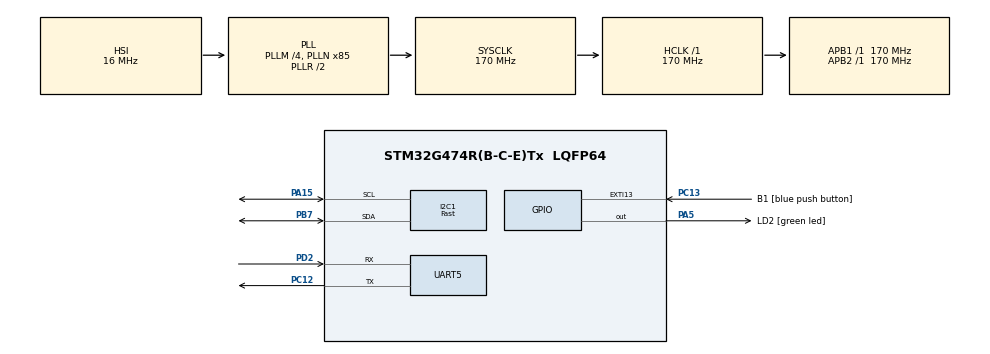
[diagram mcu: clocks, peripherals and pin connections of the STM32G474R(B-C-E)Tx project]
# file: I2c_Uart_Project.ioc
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I2C1.I2C_Speed_Mode=I2C_Fast
I2C1.Timing=0x10802D9B
Mcu.Family=STM32G4
Mcu.Name=STM32G474R(B-C-E)Tx
Mcu.Package=LQFP64
NVIC.EXTI15_10_IRQn=true\:0\:0\:false\:false\:true\:true\:true
NVIC.PriorityGroup=NVIC_PRIORITYGROUP_4
PA13.GPIO_Label=T_SWDIO
PA13.Mode=Serial_Wire
PA13.Signal=SYS_JTMS-SWDIO
PA14.GPIO_Label=T_SWCLK
PA14.Mode=Serial_Wire
PA14.Signal=SYS_JTCK-SWCLK
PA15.Mode=I2C
PA15.Signal=I2C1_SCL
PA2.GPIO_Label=LPUART1_TX [STLINKV3E_VCP_RX]
PA2.Signal=LPUART1_TX
PA3.GPIO_Label=LPUART1_RX [STLINKV3E_VCP_TX]
PA3.Signal=LPUART1_RX
PA5.GPIO_Label=LD2 [green led]
PA5.Signal=GPIO_Output
PB3.GPIO_Label=T_SWO
PB3.Signal=SYS_JTDO-SWO
PB7.Mode=I2C
PB7.Signal=I2C1_SDA
PC12.Mode=Asynchronous
PC12.Signal=UART5_TX
PC13.GPIO_Label=B1 [blue push button]
PC13.Signal=GPXTI13
PC14-OSC32_IN.Mode=LSE-External-Oscillator
PC14-OSC32_IN.Signal=RCC_OSC32_IN
PC15-OSC32_OUT.Mode=LSE-External-Oscillator
PC15-OSC32_OUT.Signal=RCC_OSC32_OUT
PD2.Mode=Asynchronous
PD2.Signal=UART5_RX
PF0-OSC_IN.Mode=HSE-External-Oscillator
PF0-OSC_IN.Signal=RCC_OSC_IN
PF1-OSC_OUT.Mode=HSE-External-Oscillator
PF1-OSC_OUT.Signal=RCC_OSC_OUT
ProjectManager.HeapSize=0x200
ProjectManager.StackSize=0x400
ProjectManager.TargetToolchain=STM32CubeIDE
RCC.ADC12Freq_Value=170000000
RCC.ADC345Freq_Value=170000000
RCC.AHBFreq_Value=170000000
RCC.APB1Freq_Value=170000000
RCC.APB1TimFreq_Value=170000000
RCC.APB2Freq_Value=170000000
RCC.APB2TimFreq_Value=170000000
RCC.CortexFreq_Value=170000000
RCC.EXTERNAL_CLOCK_VALUE=12288000
RCC.HCLKFreq_Value=170000000
RCC.HSE_VALUE=24000000
RCC.HSI48_VALUE=48000000
RCC.HSI_VALUE=16000000
RCC.PLLM=RCC_PLLM_DIV4
RCC.PLLN=85
RCC.RTCClockSelection=RCC_RTCCLKSOURCE_LSE
RCC.SYSCLKFreq_VALUE=170000000
RCC.SYSCLKSource=RCC_SYSCLKSOURCE_PLLCLK
RCC.USBFreq_Value=170000000
RCC.VCOOutputFreq_Value=340000000
VP_SYS_VS_DBSignals.Mode=DisableDeadBatterySignals
board=NUCLEO-G474RE

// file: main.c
/* USER CODE BEGIN Header */
/**
  ******************************************************************************
  * @file           : main.c
  * @brief          : Main program body
  ******************************************************************************
  * @attention
  *
  * <h2><center>&copy; Copyright (c) 2023 STMicroelectronics.
  * All rights reserved.</center></h2>
  *
  * This software component is licensed by ST under BSD 3-Clause license,
  * the "License"; You may not use this file except in compliance with the
  * License. You may obtain a copy of the License at:
  *                        opensource.org/licenses/BSD-3-Clause
  *
  ******************************************************************************
  */
/* USER CODE END Header */

#include "main.h"

/* USER CODE BEGIN Includes */
#include "max30102.h"

/* USER CODE END Includes */

I2C_HandleTypeDef hi2c1;

UART_HandleTypeDef huart5;

void SystemClock_Config(void);
static void MX_GPIO_Init(void);
static void MX_I2C1_Init(void);
static void MX_UART5_Init(void);

int main(void)
{

  /* MCU Configuration--------------------------------------------------------*/

  /* Reset of all peripherals, Initializes the Flash interface and the Systick. */
  HAL_Init();

  /* Configure the system clock */
  SystemClock_Config();

  /* Initialize all configured peripherals */
  MX_GPIO_Init();
  MX_I2C1_Init();
  MX_UART5_Init();
  /* USER CODE BEGIN 2 */
  FIFO_LED_DATA result={0};
  FIFO_LED_DATA secend_result={0};
  FIFO_LED_DATA average_result={0};
  FIFO_LED_DATA arr_sample[15];
  uint32_t ir_led_buf[15];
  uint32_t red_led_buf[15];
  int32_t heartreat;
  int32_t spo2;
  int8_t heartreat_vlid;
  int8_t spo2_valid;
  int i;
  MAX30102 Final_result={0};
  long currentMillis = 0;
  long lastMillis = 0;

  //uint16_t count=0;
  uint8_t arr2[]="the device is ready\n\r";
    uint8_t arr3[]="the device is not ready\n\r";
#if DEBUG_MODE_UART==OPEN
  uint8_t arr[]="software is start\n\r";

  HAL_UART_Transmit(&huart5, arr, sizeof(arr), 500);
#endif
  if(HAL_I2C_IsDeviceReady(&hi2c1, I2C_SLAVE_ID, 2, 10)==HAL_OK)
  {
	//#if DEBUG_MODE_UART==OPEN
	  HAL_UART_Transmit(&huart5, arr2, sizeof(arr2), 500);
	  HAL_Delay(2000);
	//#endif
  }else{
	//#if DEBUG_MODE_UART==OPEN
	  HAL_UART_Transmit(&huart5, arr3, sizeof(arr3), 500);
	//#endif
  }
   Max30102_resetRegisters();
  Max30102_Init();

  /*Max30102_setLedCurrent(RED_LED, 50);
  Max30102_setLedCurrent(IR_LED, 5);
 Max30102_resetFifo();*/

  //result=Max30102_readFifo();
  currentMillis = millis();
  /* USER CODE END 2 */

  /* Infinite loop */
  while (1)
  {

    /* USER CODE BEGIN 3 */
	  //count++;
	  result.irLedRaw=0;
	  result.redLedRaw=0;
	  secend_result.irLedRaw=0;
	  secend_result.redLedRaw=0;
	  for(i=0;i<15;i++)
	  {
		  arr_sample[i]=Max30102_readFifo();
		  result.irLedRaw=result.irLedRaw+arr_sample[i].irLedRaw;
		  result.redLedRaw=result.redLedRaw+arr_sample[i].redLedRaw;

		  Max30102_resetFifo();

	  }

	 /* result=Max30102_readFifo();
	  Max30102_resetFifo();
	  secend_result=Max30102_readFifo();*/

	  average_result.irLedRaw=(result.irLedRaw)/15.0;
	  average_result.redLedRaw=(result.redLedRaw)/15.0;
	  memset(arr_sample,0,sizeof(arr_sample));

	 // average_result.irLedRaw=arr_sample[498].irLedRaw;
	  //average_result.redLedRaw=arr_sample[498].redLedRaw;

	  Final_result=Max30102_HeartRate_Value(average_result);
	 //print_Sensor_value(Final_result.redDcValue);

  	  Max30102_resetFifo();
  	//HAL_Delay(10);

	 currentMillis = millis();
	 	  if( currentMillis - lastMillis > 1000 )
	 	  {
	 		  	  	  if(Final_result.irDcValue>80000){
	 			 	 	HAL_UART_Transmit(&huart5, "MAX30102 Pulse Oximiter Data: =",sizeof("MAX30102 Pulse Oximiter Data: ="),100);
	 		 	  		print_Sensor_value(Final_result.heartBPM);
	 		 	  		HAL_UART_Transmit(&huart5, "Oxygen Saturation SpO2 (%): =",sizeof("Oxygen Saturation SpO2 (%): ="),100);
	 		 	  		uart_PrintFloat(Final_result.SpO2);
	 		 	  		HAL_UART_Transmit(&huart5, "The Value of ir =",sizeof("The Value of ir ="),100);
	 		 	  		print_Sensor_value(Final_result.irDcValue );
	 		 	  		uart_PrintString("\r\n");
	 		  	  	  }else
	 		  	  	  {
	 		  	  		HAL_UART_Transmit(&huart5, "No Finger\n\r",sizeof("No Finger\n\r"),100);
	 		  	  	  }

	 			/*uart_PrintString("MAX30102 Pulse Oximiter Data:\r\n");

	 			uart_PrintString("Heart Rate (BPM): ");
	 			uart_PrintFloat(Final_result.heartBPM);

	 			uart_PrintString("Oxygen Saturation SpO2 (%): ");
	 			uart_PrintFloat(Final_result.SpO2);
	 			uart_PrintString("\r\n");*/

	 		  lastMillis = currentMillis;
	 	  }

		//HAL_UART_Transmit(&huart5, (uint8_t *)&Final_result.heartBPM,1, HAL_MAX_DELAY);

	//
	  //HAL_UART_Transmit(&huart5, (uint8_t *)&result.irLedRaw, 4,100);
	 // HAL_UART_Transmit(&huart5, (uint8_t *)&result.redLedRaw, 4,100);
  }
  /* USER CODE END 3 */
}

void SystemClock_Config(void)
{
  RCC_OscInitTypeDef RCC_OscInitStruct = {0};
  RCC_ClkInitTypeDef RCC_ClkInitStruct = {0};
  RCC_PeriphCLKInitTypeDef PeriphClkInit = {0};

  /** Configure the main internal regulator output voltage
  */
  HAL_PWREx_ControlVoltageScaling(PWR_REGULATOR_VOLTAGE_SCALE1_BOOST);
  /** Initializes the CPU, AHB and APB busses clocks
  */
  RCC_OscInitStruct.OscillatorType = RCC_OSCILLATORTYPE_HSI;
  RCC_OscInitStruct.HSIState = RCC_HSI_ON;
  RCC_OscInitStruct.HSICalibrationValue = RCC_HSICALIBRATION_DEFAULT;
  RCC_OscInitStruct.PLL.PLLState = RCC_PLL_ON;
  RCC_OscInitStruct.PLL.PLLSource = RCC_PLLSOURCE_HSI;
  RCC_OscInitStruct.PLL.PLLM = RCC_PLLM_DIV4;
  RCC_OscInitStruct.PLL.PLLN = 85;
  RCC_OscInitStruct.PLL.PLLP = RCC_PLLP_DIV2;
  RCC_OscInitStruct.PLL.PLLQ = RCC_PLLQ_DIV2;
  RCC_OscInitStruct.PLL.PLLR = RCC_PLLR_DIV2;
  if (HAL_RCC_OscConfig(&RCC_OscInitStruct) != HAL_OK)
  {
    Error_Handler();
  }
  /** Initializes the CPU, AHB and APB busses clocks
  */
  RCC_ClkInitStruct.ClockType = RCC_CLOCKTYPE_HCLK|RCC_CLOCKTYPE_SYSCLK
                              |RCC_CLOCKTYPE_PCLK1|RCC_CLOCKTYPE_PCLK2;
  RCC_ClkInitStruct.SYSCLKSource = RCC_SYSCLKSOURCE_PLLCLK;
  RCC_ClkInitStruct.AHBCLKDivider = RCC_SYSCLK_DIV1;
  RCC_ClkInitStruct.APB1CLKDivider = RCC_HCLK_DIV1;
  RCC_ClkInitStruct.APB2CLKDivider = RCC_HCLK_DIV1;

  if (HAL_RCC_ClockConfig(&RCC_ClkInitStruct, FLASH_LATENCY_8) != HAL_OK)
  {
    Error_Handler();
  }
  /** Initializes the peripherals clocks
  */
  PeriphClkInit.PeriphClockSelection = RCC_PERIPHCLK_UART5|RCC_PERIPHCLK_I2C1;
  PeriphClkInit.Uart5ClockSelection = RCC_UART5CLKSOURCE_PCLK1;
  PeriphClkInit.I2c1ClockSelection = RCC_I2C1CLKSOURCE_PCLK1;
  if (HAL_RCCEx_PeriphCLKConfig(&PeriphClkInit) != HAL_OK)
  {
    Error_Handler();
  }
}

static void MX_I2C1_Init(void)
{

  hi2c1.Instance = I2C1;
  hi2c1.Init.Timing = 0x10802D9B;
  hi2c1.Init.OwnAddress1 = 0;
  hi2c1.Init.AddressingMode = I2C_ADDRESSINGMODE_7BIT;
  hi2c1.Init.DualAddressMode = I2C_DUALADDRESS_DISABLE;
  hi2c1.Init.OwnAddress2 = 0;
  hi2c1.Init.OwnAddress2Masks = I2C_OA2_NOMASK;
  hi2c1.Init.GeneralCallMode = I2C_GENERALCALL_DISABLE;
  hi2c1.Init.NoStretchMode = I2C_NOSTRETCH_DISABLE;
  if (HAL_I2C_Init(&hi2c1) != HAL_OK)
  {
    Error_Handler();
  }
  /** Configure Analogue filter
  */
  if (HAL_I2CEx_ConfigAnalogFilter(&hi2c1, I2C_ANALOGFILTER_ENABLE) != HAL_OK)
  {
    Error_Handler();
  }
  /** Configure Digital filter
  */
  if (HAL_I2CEx_ConfigDigitalFilter(&hi2c1, 0) != HAL_OK)
  {
    Error_Handler();
  }

}

static void MX_UART5_Init(void)
{

  huart5.Instance = UART5;
  huart5.Init.BaudRate = 115200;
  huart5.Init.WordLength = UART_WORDLENGTH_8B;
  huart5.Init.StopBits = UART_STOPBITS_1;
  huart5.Init.Parity = UART_PARITY_NONE;
  huart5.Init.Mode = UART_MODE_TX_RX;
  huart5.Init.HwFlowCtl = UART_HWCONTROL_NONE;
  huart5.Init.OverSampling = UART_OVERSAMPLING_16;
  huart5.Init.OneBitSampling = UART_ONE_BIT_SAMPLE_DISABLE;
  huart5.Init.ClockPrescaler = UART_PRESCALER_DIV1;
  huart5.AdvancedInit.AdvFeatureInit = UART_ADVFEATURE_NO_INIT;
  if (HAL_UART_Init(&huart5) != HAL_OK)
  {
    Error_Handler();
  }
  if (HAL_UARTEx_SetTxFifoThreshold(&huart5, UART_TXFIFO_THRESHOLD_1_8) != HAL_OK)
  {
    Error_Handler();
  }
  if (HAL_UARTEx_SetRxFifoThreshold(&huart5, UART_RXFIFO_THRESHOLD_1_8) != HAL_OK)
  {
    Error_Handler();
  }
  if (HAL_UARTEx_DisableFifoMode(&huart5) != HAL_OK)
  {
    Error_Handler();
  }

}

static void MX_GPIO_Init(void)
{
  GPIO_InitTypeDef GPIO_InitStruct = {0};

  /* GPIO Ports Clock Enable */
  __HAL_RCC_GPIOC_CLK_ENABLE();
  __HAL_RCC_GPIOF_CLK_ENABLE();
  __HAL_RCC_GPIOA_CLK_ENABLE();
  __HAL_RCC_GPIOD_CLK_ENABLE();
  __HAL_RCC_GPIOB_CLK_ENABLE();

  /*Configure GPIO pin Output Level */
  HAL_GPIO_WritePin(LD2_GPIO_Port, LD2_Pin, GPIO_PIN_RESET);

  /*Configure GPIO pin : B1_Pin */
  GPIO_InitStruct.Pin = B1_Pin;
  GPIO_InitStruct.Mode = GPIO_MODE_IT_RISING;
  GPIO_InitStruct.Pull = GPIO_NOPULL;
  HAL_GPIO_Init(B1_GPIO_Port, &GPIO_InitStruct);

  /*Configure GPIO pins : LPUART1_TX_Pin LPUART1_RX_Pin */
  GPIO_InitStruct.Pin = LPUART1_TX_Pin|LPUART1_RX_Pin;
  GPIO_InitStruct.Mode = GPIO_MODE_AF_PP;
  GPIO_InitStruct.Pull = GPIO_NOPULL;
  GPIO_InitStruct.Speed = GPIO_SPEED_FREQ_LOW;
  GPIO_InitStruct.Alternate = GPIO_AF12_LPUART1;
  HAL_GPIO_Init(GPIOA, &GPIO_InitStruct);

  /*Configure GPIO pin : LD2_Pin */
  GPIO_InitStruct.Pin = LD2_Pin;
  GPIO_InitStruct.Mode = GPIO_MODE_OUTPUT_PP;
  GPIO_InitStruct.Pull = GPIO_NOPULL;
  GPIO_InitStruct.Speed = GPIO_SPEED_FREQ_LOW;
  HAL_GPIO_Init(LD2_GPIO_Port, &GPIO_InitStruct);

  /* EXTI interrupt init*/
  HAL_NVIC_SetPriority(EXTI15_10_IRQn, 0, 0);
  HAL_NVIC_EnableIRQ(EXTI15_10_IRQn);

}

void Error_Handler(void)
{
}

/************************ (C) COPYRIGHT STMicroelectronics *****END OF FILE****/
